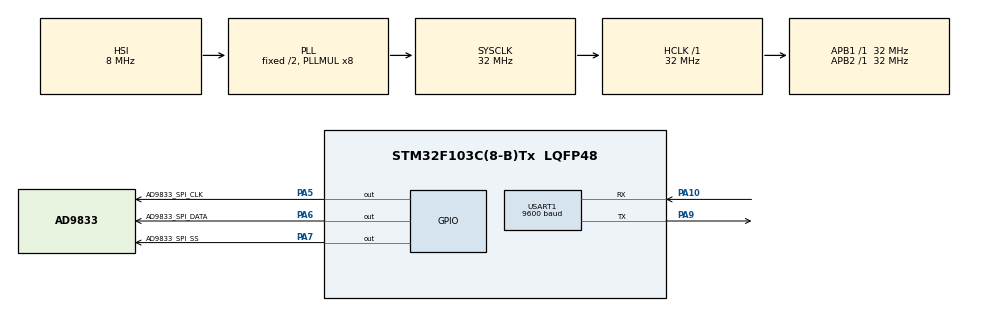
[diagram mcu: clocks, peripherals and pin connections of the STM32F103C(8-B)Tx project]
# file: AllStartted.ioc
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Mcu.Family=STM32F1
Mcu.Name=STM32F103C(8-B)Tx
Mcu.Package=LQFP48
NVIC.PriorityGroup=NVIC_PRIORITYGROUP_4
NVIC.USART1_IRQn=true\:0\:0\:false\:false\:true\:true\:true
PA10.Mode=Asynchronous
PA10.Signal=USART1_RX
PA13.Mode=Serial_Wire
PA13.Signal=SYS_JTMS-SWDIO
PA14.Mode=Serial_Wire
PA14.Signal=SYS_JTCK-SWCLK
PA5.GPIO_Label=AD9833_SPI_CLK
PA5.Signal=GPIO_Output
PA6.GPIO_Label=AD9833_SPI_DATA
PA6.Signal=GPIO_Output
PA7.GPIO_Label=AD9833_SPI_SS
PA7.Signal=GPIO_Output
PA9.Mode=Asynchronous
PA9.Signal=USART1_TX
PD0-OSC_IN.Mode=HSE-External-Oscillator
PD0-OSC_IN.Signal=RCC_OSC_IN
PD1-OSC_OUT.Mode=HSE-External-Oscillator
PD1-OSC_OUT.Signal=RCC_OSC_OUT
ProjectManager.HeapSize=0x200
ProjectManager.StackSize=0x400
ProjectManager.TargetToolchain=MDK-ARM V5.27
RCC.AHBFreq_Value=32000000
RCC.APB1Freq_Value=32000000
RCC.APB1TimFreq_Value=32000000
RCC.APB2Freq_Value=32000000
RCC.APB2TimFreq_Value=32000000
RCC.HCLKFreq_Value=32000000
RCC.PLLMUL=RCC_PLL_MUL8
RCC.SYSCLKFreq_VALUE=32000000
RCC.SYSCLKSource=RCC_SYSCLKSOURCE_PLLCLK
RCC.USBFreq_Value=32000000
USART1.BaudRate=9600
USART1.VirtualMode=VM_ASYNC
board=custom

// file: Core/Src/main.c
/* USER CODE BEGIN Header */
/**
 ******************************************************************************
 * @file           : main.c
 * @brief          : Main program body
 ******************************************************************************
 * @attention
 *
 * <h2><center>&copy; Copyright (c) 2022 STMicroelectronics.
 * All rights reserved.</center></h2>
 *
 * This software component is licensed by ST under BSD 3-Clause license,
 * the "License"; You may not use this file except in compliance with the
 * License. You may obtain a copy of the License at:
 *                        opensource.org/licenses/BSD-3-Clause
 *
 ******************************************************************************
 */
/* USER CODE END Header */
#include "main.h"

UART_HandleTypeDef huart1;

void SystemClock_Config(void);
static void MX_GPIO_Init(void);
static void MX_USART1_UART_Init(void);

/* USER CODE BEGIN 0 */

int _state = 0;
uint8_t tx_buff[] = "Basarili\r";
uint8_t rx_buff[100];
uint8_t oneByte;
uint8_t packet_data[100];
uint8_t _startIndex = 0;

uint8_t sizeOfpacket = 0;

_transducer myTransducer[4];
_transducer zeroTransducer[4];

unsigned long _period = 30;
unsigned long _duty = 15;
unsigned long _globalCounter = 0;

void parseData(const uint8_t *data, uint8_t size, _transducer *arrTransducer)
{
  uint8_t numIndex = 0;
  // uint8_t _numIndex = 0;
  uint8_t x;
  for (x = 0; x < size; x++)
  {
    if (*(data + x) == 'N')
    {
      arrTransducer[numIndex].number = *(data + x + 1) - 48;
    }
    if (*(data + x) == 'f')
    {
      uint8_t fValue[10] = {0};
      uint8_t frValueIndex = 0;
      uint8_t pValue[10] = {0};
      uint8_t pValueIndex = 0;
      x++;
      while (*(data + x) != 'p' && x < size)
      {
        fValue[frValueIndex] = *(data + x);
        frValueIndex++;
        x++;
      }
      x++;
      arrTransducer[numIndex].frequency = atoi(fValue);
      while (*(data + x) != 'N' && x < size && *(data + x) != 'F' && *(data + x) != 'T')
      {
        pValue[pValueIndex] = *(data + x);
        pValueIndex++;
        x++;
      }
      x--;
      arrTransducer[numIndex].phase = atoi(pValue);
      numIndex++;
    }
		else if(*(data + x) == 'T'){
			 x++;
			 x++; //M
			 uint8_t period[10] = {0};
       uint8_t periodIndex = 0;
			 uint8_t duty[10] = {0};
       uint8_t dutyIndex = 0;
			while (*(data + x) != 'T' && x < size)
      {
        period[periodIndex] = *(data + x);
        periodIndex++;
        x++;
      }
			_period = atoi(period);
			x++;
			while (*(data + x) != 'F' && x < size)
      {
        duty[dutyIndex] = *(data + x);
        dutyIndex++;
        x++;
      }
			_duty = atoi(duty);
		}
  }
}
/* USER CODE END 0 */

int main(void)
{

  /* MCU Configuration--------------------------------------------------------*/

  /* Reset of all peripherals, Initializes the Flash interface and the Systick. */
  HAL_Init();

  /* Configure the system clock */
  SystemClock_Config();

  /* Initialize all configured peripherals */
  MX_GPIO_Init();
  MX_USART1_UART_Init();
  /* USER CODE BEGIN 2 */
  HAL_UART_Receive_IT(&huart1, &oneByte, 1);
  // HAL_UART_Transmit_IT(&huart1,tx_buff,sizeof(tx_buff)-1);
  // AD9833_Init(0,1000000,0);
  /* USER CODE END 2 */

  /* Infinite loop */
  /* USER CODE BEGIN WHILE */
  for (size_t i = 0; i < 4; i++)
  {
    /* code */
    myTransducer[i].frequency = 1000000;
    myTransducer[i].phase = 0;
  }

  myTransducer[0].GPIOx = GPIOA;
  myTransducer[0].GPIO_Pin = GPIO_PIN_6;

  myTransducer[1].GPIOx = GPIOA;
  myTransducer[1].GPIO_Pin = GPIO_PIN_7;

  myTransducer[2].GPIOx = GPIOB;
  myTransducer[2].GPIO_Pin = GPIO_PIN_0;

  myTransducer[3].GPIOx = GPIOB;
  myTransducer[3].GPIO_Pin = GPIO_PIN_1;

	 for (size_t i = 0; i < 4; i++)
  {
    /* code */
    zeroTransducer[i].frequency = 0;
    zeroTransducer[i].phase = 0;
		zeroTransducer[i].GPIOx = myTransducer[i].GPIOx;
		zeroTransducer[i].GPIO_Pin = myTransducer[i].GPIO_Pin;
		zeroTransducer[i].number = 1+i;
	}

  // AD9833_Init(0, 1000000, 1000000, 0, 0);
  AD9833_Init_Test(0, myTransducer);
  while (1)
  {
    /* USER CODE END WHILE */

    /* USER CODE BEGIN 3 */
    switch (_state)
    {
    case notReceived:
      __NOP();
      break;
    case packetReceived:
    {
      // memset(myTransducer, 0, sizeof(myTransducer));
      parseData(packet_data, sizeOfpacket, myTransducer);
      _state = sendAd9833;
      memset(packet_data, 0, sizeof(packet_data));
      sizeOfpacket = 0;
      break;
    }
    case sendAd9833:
			_globalCounter = 0;
      AD9833_Init_Test(0, myTransducer);
      char stringFrequency[10] = {0};
      char stringPhase[10] = {0};
      char sendData[30] = "STM-32[0]-> F:";
      char pString[] = " P:";
      sprintf(stringFrequency, "%d", myTransducer[0].frequency);
      sprintf(stringPhase, "%d", myTransducer[0].phase);
      strcat(sendData, stringFrequency);
      strcat(sendData, pString);
      strcat(sendData, stringPhase);
      //HAL_UART_Transmit_IT(&huart1, sendData, sizeof(sendData) - 1);
      _state = idleState;
      __NOP();
      break;
    case idleState:
			if(_duty >= _period){
			  __NOP();
				_globalCounter = 0;
			}
			else if(_globalCounter < _duty){
				HAL_Delay(1);
				_globalCounter++;
			}
			else if(_duty == _globalCounter){
				AD9833_Init_Test(0, zeroTransducer);
				HAL_Delay(1);
				_globalCounter++;
			}
			else if(_globalCounter < _period && _globalCounter > _duty){
				HAL_Delay(1);
				_globalCounter++;
				__NOP();
			}
			else if(_globalCounter == _period){
			  _globalCounter = 0;
				_state = sendAd9833;
			}

      break;
    default:
      __NOP();
      break;
    }
  }
  /* USER CODE END 3 */
}

void SystemClock_Config(void)
{
  RCC_OscInitTypeDef RCC_OscInitStruct = {0};
  RCC_ClkInitTypeDef RCC_ClkInitStruct = {0};

  /** Initializes the RCC Oscillators according to the specified parameters
   * in the RCC_OscInitTypeDef structure.
   */
  RCC_OscInitStruct.OscillatorType = RCC_OSCILLATORTYPE_HSI;
  RCC_OscInitStruct.HSIState = RCC_HSI_ON;
  RCC_OscInitStruct.HSICalibrationValue = RCC_HSICALIBRATION_DEFAULT;
  RCC_OscInitStruct.PLL.PLLState = RCC_PLL_ON;
  RCC_OscInitStruct.PLL.PLLSource = RCC_PLLSOURCE_HSI_DIV2;
  RCC_OscInitStruct.PLL.PLLMUL = RCC_PLL_MUL8;
  if (HAL_RCC_OscConfig(&RCC_OscInitStruct) != HAL_OK)
  {
    Error_Handler();
  }
  /** Initializes the CPU, AHB and APB buses clocks
   */
  RCC_ClkInitStruct.ClockType = RCC_CLOCKTYPE_HCLK | RCC_CLOCKTYPE_SYSCLK | RCC_CLOCKTYPE_PCLK1 | RCC_CLOCKTYPE_PCLK2;
  RCC_ClkInitStruct.SYSCLKSource = RCC_SYSCLKSOURCE_PLLCLK;
  RCC_ClkInitStruct.AHBCLKDivider = RCC_SYSCLK_DIV1;
  RCC_ClkInitStruct.APB1CLKDivider = RCC_HCLK_DIV1;
  RCC_ClkInitStruct.APB2CLKDivider = RCC_HCLK_DIV1;

  if (HAL_RCC_ClockConfig(&RCC_ClkInitStruct, FLASH_LATENCY_1) != HAL_OK)
  {
    Error_Handler();
  }
}

static void MX_USART1_UART_Init(void)
{

  huart1.Instance = USART1;
  huart1.Init.BaudRate = 9600;
  huart1.Init.WordLength = UART_WORDLENGTH_8B;
  huart1.Init.StopBits = UART_STOPBITS_1;
  huart1.Init.Parity = UART_PARITY_NONE;
  huart1.Init.Mode = UART_MODE_TX_RX;
  huart1.Init.HwFlowCtl = UART_HWCONTROL_NONE;
  huart1.Init.OverSampling = UART_OVERSAMPLING_16;
  if (HAL_UART_Init(&huart1) != HAL_OK)
  {
    Error_Handler();
  }
}

static void MX_GPIO_Init(void)
{
  GPIO_InitTypeDef GPIO_InitStruct = {0};

  /* GPIO Ports Clock Enable */
  __HAL_RCC_GPIOD_CLK_ENABLE();
  __HAL_RCC_GPIOA_CLK_ENABLE();
  __HAL_RCC_GPIOB_CLK_ENABLE();

  /*Configure GPIO pin Output Level */
  HAL_GPIO_WritePin(GPIOA, AD9833_SPI_CLK_Pin | AD9833_SPI_DATA_Pin | AD9833_SPI_SS_Pin | AD9833_SPI_DATA_Pin2, GPIO_PIN_RESET);
  HAL_GPIO_WritePin(GPIOB, AD9833_SPI_DATA_Pin3 | AD9833_SPI_DATA_Pin4, GPIO_PIN_RESET);
  /*Configure GPIO pins : AD9833_SPI_CLK_Pin AD9833_SPI_DATA_Pin AD9833_SPI_SS_Pin */
  GPIO_InitStruct.Pin = AD9833_SPI_CLK_Pin | AD9833_SPI_DATA_Pin | AD9833_SPI_SS_Pin | AD9833_SPI_DATA_Pin2;
  GPIO_InitStruct.Mode = GPIO_MODE_OUTPUT_PP;
  GPIO_InitStruct.Pull = GPIO_NOPULL;
  GPIO_InitStruct.Speed = GPIO_SPEED_FREQ_HIGH;
  HAL_GPIO_Init(GPIOA, &GPIO_InitStruct);

  GPIO_InitStruct.Pin = AD9833_SPI_CLK_Pin | AD9833_SPI_SS_Pin ;
  GPIO_InitStruct.Mode = GPIO_MODE_OUTPUT_PP;
  GPIO_InitStruct.Pull = GPIO_PULLUP;
  GPIO_InitStruct.Speed = GPIO_SPEED_FREQ_HIGH;
  HAL_GPIO_Init(GPIOA, &GPIO_InitStruct);

  GPIO_InitStruct.Pin = AD9833_SPI_DATA_Pin3 | AD9833_SPI_DATA_Pin4;
  GPIO_InitStruct.Mode = GPIO_MODE_OUTPUT_PP;
  GPIO_InitStruct.Pull = GPIO_NOPULL;
  GPIO_InitStruct.Speed = GPIO_SPEED_FREQ_HIGH;
  HAL_GPIO_Init(GPIOB, &GPIO_InitStruct);
}

/* USER CODE BEGIN 4 */
void HAL_UART_TxCpltCallback(UART_HandleTypeDef *huart)
{
  __NOP();
}
void HAL_UART_RxCpltCallback(UART_HandleTypeDef *huart)
{
  static uint8_t _index = 0;
  rx_buff[_index] = oneByte;
  if (_index >= 1)
  {
    if (rx_buff[_index] == 'C' && rx_buff[_index - 1] == 'P')
    {
      _startIndex = _index - 1;
    }
    if (rx_buff[_index] == 'F' && rx_buff[_index - 1] == 'F')
    {
      if (_state != packetReceived)
      {
        memcpy(packet_data, rx_buff, _index + 1 - _startIndex);
        sizeOfpacket = _index - _startIndex;
        _state = packetReceived;
      }
      memset(rx_buff, 0, sizeof(rx_buff));
      _startIndex = 0;
      _index = 0;
    }
  }
  if (_index > 98)
  {
    _index = 0;
    _state = errorPacket;
    memset(rx_buff, 0, sizeof(rx_buff));
  }
  _index++;
  memset(&oneByte, 0, 1);
  HAL_UART_Receive_IT(&huart1, &oneByte, 1);
}
/* USER CODE END 4 */

void Error_Handler(void)
{
  __disable_irq();
  while (1)
  {
  }
}

/************************ (C) COPYRIGHT STMicroelectronics *****END OF FILE****/
